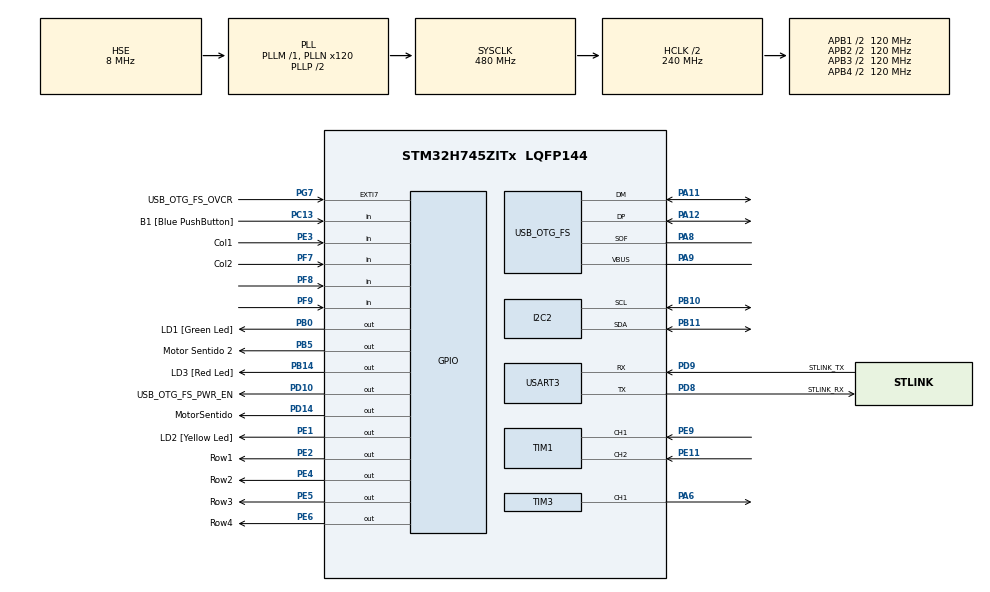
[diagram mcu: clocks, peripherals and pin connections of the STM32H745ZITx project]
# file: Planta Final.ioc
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CortexM4.IPs=FATFS_M4\:I,FREERTOS_M4\:I,IWDG2\:I,RCC,WWDG2\:I,DMA,BDMA,MDMA,NVIC2\:I,USART3,DEBUG,USB_DEVICE_M4\:I,USB_HOST_M4\:I,PDM2PCM_M4\:I,PWR,RESMGR_UTILITY,SYS_M4\:I,CORTEX_M4\:I,OPENAMP_M4\:I,VREFBUF
CortexM7.IPs=FATFS_M7\:I,FREERTOS_M7\:I,IWDG1\:I,RCC\:I,WWDG1\:I,DMA\:I,BDMA\:I,MDMA\:I,NVIC1\:I,SYS\:I,USART3\:I,USB_OTG_FS\:I,CORTEX_M7\:I,DEBUG\:I,USB_DEVICE_M7\:I,USB_HOST_M7\:I,PDM2PCM_M7\:I,PWR\:I,RESMGR_UTILITY\:I,OPENAMP_M7\:I,VREFBUF\:I,TIM1\:I,I2C2\:I,TIM3\:I
CortexM7.Pins=PE2,PE3,PE4,PE5,PE6,PF7,PF8,PF9,PD14,PB5
I2C2.Timing=0x307075B1
Mcu.Family=STM32H7
Mcu.Name=STM32H745ZITx
Mcu.Package=LQFP144
NVIC1.PriorityGroup=NVIC_PRIORITYGROUP_4
NVIC2.PriorityGroup=NVIC_PRIORITYGROUP_4
PA11.Mode=Device_Only
PA11.PinAttribute=CortexM7
PA11.Signal=USB_OTG_FS_DM
PA12.Mode=Device_Only
PA12.PinAttribute=CortexM7
PA12.Signal=USB_OTG_FS_DP
PA6.PinAttribute=CortexM7
PA6.Signal=S_TIM3_CH1
PA8.Mode=Activate_SOF_FS
PA8.PinAttribute=CortexM7
PA8.Signal=USB_OTG_FS_SOF
PA9.Mode=Activate_VBUS
PA9.PinAttribute=CortexM7
PA9.Signal=USB_OTG_FS_VBUS
PB0.GPIO_Label=LD1 [Green Led]
PB0.PinAttribute=Free
PB0.Signal=GPIO_Output
PB10.Mode=I2C
PB10.PinAttribute=CortexM7
PB10.Signal=I2C2_SCL
PB11.Mode=I2C
PB11.PinAttribute=CortexM7
PB11.Signal=I2C2_SDA
PB14.GPIO_Label=LD3 [Red Led]
PB14.PinAttribute=Free
PB14.Signal=GPIO_Output
PB5.GPIO_Label=Motor Sentido 2
PB5.PinAttribute=CortexM7
PB5.Signal=GPIO_Output
PC13.GPIO_Label=B1 [Blue PushButton]
PC13.PinAttribute=Free
PC13.Signal=GPIO_Input
PC14-OSC32_IN\ (OSC32_IN).Mode=LSE-External-Oscillator
PC14-OSC32_IN\ (OSC32_IN).PinAttribute=CortexM7
PC14-OSC32_IN\ (OSC32_IN).Signal=RCC_OSC32_IN
PC15-OSC32_OUT\ (OSC32_OUT).Mode=LSE-External-Oscillator
PC15-OSC32_OUT\ (OSC32_OUT).PinAttribute=CortexM7
PC15-OSC32_OUT\ (OSC32_OUT).Signal=RCC_OSC32_OUT
PD10.GPIO_Label=USB_OTG_FS_PWR_EN
PD10.PinAttribute=Free
PD10.Signal=GPIO_Output
PD14.GPIO_Label=MotorSentido
PD14.PinAttribute=CortexM7
PD14.Signal=GPIO_Output
PD8.GPIO_Label=STLINK_RX
PD8.Mode=Asynchronous
PD8.PinAttribute=CortexM7
PD8.Signal=USART3_TX
PD9.GPIO_Label=STLINK_TX
PD9.Mode=Asynchronous
PD9.PinAttribute=CortexM7
PD9.Signal=USART3_RX
PE1.GPIO_Label=LD2 [Yellow Led]
PE1.PinAttribute=Free
PE1.Signal=GPIO_Output
PE11.PinAttribute=CortexM7
PE11.Signal=S_TIM1_CH2
PE2.GPIO_Label=Row1
PE2.PinAttribute=CortexM7
PE2.Signal=GPIO_Output
PE3.GPIO_Label=Col1
PE3.PinAttribute=CortexM7
PE3.Signal=GPIO_Input
PE4.GPIO_Label=Row2
PE4.PinAttribute=CortexM7
PE4.Signal=GPIO_Output
PE5.GPIO_Label=Row3
PE5.PinAttribute=CortexM7
PE5.Signal=GPIO_Output
PE6.GPIO_Label=Row4
PE6.PinAttribute=CortexM7
PE6.Signal=GPIO_Output
PE9.PinAttribute=CortexM7
PE9.Signal=S_TIM1_CH1
PF7.GPIO_Label=Col2
PF7.PinAttribute=CortexM7
PF7.Signal=GPIO_Input
PF8.PinAttribute=CortexM7
PF8.Signal=GPIO_Input
PF9.PinAttribute=CortexM7
PF9.Signal=GPIO_Input
PG7.GPIO_Label=USB_OTG_FS_OVCR
PG7.PinAttribute=Free
PG7.Signal=GPXTI7
PH0-OSC_IN\ (PH0).Mode=HSE-External-Clock-Source
PH0-OSC_IN\ (PH0).PinAttribute=CortexM7
PH0-OSC_IN\ (PH0).Signal=RCC_OSC_IN
PH1-OSC_OUT\ (PH1).PinAttribute=CortexM7
PH1-OSC_OUT\ (PH1).Signal=RCC_OSC_OUT
ProjectManager.HeapSize=M4-0x200,M7-0x200
ProjectManager.StackSize=M4-0x400,M7-0x400
ProjectManager.TargetToolchain=STM32CubeIDE
RCC.ADCFreq_Value=16125000
RCC.APB1Freq_Value=120000000
RCC.APB2Freq_Value=120000000
RCC.APB3Freq_Value=120000000
RCC.APB4Freq_Value=120000000
RCC.CortexFreq_Value=480000000
RCC.D1PPRE=RCC_APB3_DIV2
RCC.D2PPRE1=RCC_APB1_DIV2
RCC.D2PPRE2=RCC_APB2_DIV2
RCC.D3PPRE=RCC_APB4_DIV2
RCC.DIVM1=1
RCC.DIVM3=1
RCC.DIVN1=120
RCC.DIVN3=24
RCC.DIVQ3=4
RCC.HCLKFreq_Value=240000000
RCC.HPRE=RCC_HCLK_DIV2
RCC.HSE_VALUE=8000000
RCC.PLL2FRACN=0
RCC.PLL3FRACN=0
RCC.PLLFRACN=0
RCC.SYSCLKFreq_VALUE=480000000
RCC.SYSCLKSource=RCC_SYSCLKSOURCE_PLLCLK
RCC.SupplySource=PWR_DIRECT_SMPS_SUPPLY
RCC.USBCLockSelection=RCC_USBCLKSOURCE_PLL3
RCC.USBFreq_Value=48000000
SH.S_TIM1_CH1.0=TIM1_CH1,Encoder_Interface
SH.S_TIM1_CH2.0=TIM1_CH2,Encoder_Interface
SH.S_TIM3_CH1.0=TIM3_CH1,PWM Generation1 CH1
TIM1.EncoderMode=TIM_ENCODERMODE_TI12
TIM1.IC1Filter=5
TIM1.IC1Polarity=TIM_ICPOLARITY_FALLING
TIM1.IC2Filter=5
TIM1.IC2Polarity=TIM_ICPOLARITY_FALLING
TIM3.Channel-PWM\ Generation1\ CH1=TIM_CHANNEL_1
TIM3.Period=99
TIM3.Prescaler=239
USART3.VirtualMode-Asynchronous=VM_ASYNC
USB_OTG_FS.VirtualMode=Device_Only
VP_SYS_M4_VS_Systick.Mode=SysTick
VP_TIM3_VS_ClockSourceINT.Mode=Internal
board=NUCLEO-H745ZI-Q

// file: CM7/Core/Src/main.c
/* USER CODE BEGIN Header */
/**
  ******************************************************************************
  * @file           : main.c
  * @brief          : Main program body
  ******************************************************************************
  * @attention
  *
  * <h2><center>&copy; Copyright (c) 2021 STMicroelectronics.
  * All rights reserved.</center></h2>
  *
  * This software component is licensed by ST under BSD 3-Clause license,
  * the "License"; You may not use this file except in compliance with the
  * License. You may obtain a copy of the License at:
  *                        opensource.org/licenses/BSD-3-Clause
  *
  ******************************************************************************
  */
/* USER CODE END Header */
#include "main.h"

/* USER CODE BEGIN Includes */
#include <stdio.h>
#include <stdlib.h>
#include <string.h>
//#include "stdio.h"
#include "PuenteH.h"
#include "MPU6050.h"
#include "i2c-lcd.h"
#include "keypad.h"

// For a proportional control
#define DIRECTION1_PIN GPIO_PIN_14
#define DIRECTION1_PORT GPIOD

#define DIRECTION2_PIN GPIO_PIN_5
#define DIRECTION2_PORT GPIOB

#define K 1

/* USER CODE END Includes */

/* USER CODE BEGIN PD */

#ifndef HSEM_ID_0
#define HSEM_ID_0 (0U) /* HW semaphore 0*/
#endif
/* USER CODE END PD */

I2C_HandleTypeDef hi2c2;

TIM_HandleTypeDef htim1;
TIM_HandleTypeDef htim3;

UART_HandleTypeDef huart3;

PCD_HandleTypeDef hpcd_USB_OTG_FS;

/* USER CODE BEGIN PV */
	// Declare global structures
		DC_Motor_Controller* motor;
		MPU6050 gyro;
	// Control variables:
		int currentPrr = 0;
		int currentDistance = 0;

		/* First Index -> Input
		 * Second Index -> Sensor
		 * */
		int controlStuffPRR[2];
		float controlStuffDist[2];

	// Send info buffers:
	   char uart_buffer[50];
	   uint8_t uart_buff_len;
	// MPU readings:
	   float readings [3];
/* USER CODE END PV */

void SystemClock_Config(void);
static void MX_GPIO_Init(void);
static void MX_USART3_UART_Init(void);
static void MX_USB_OTG_FS_PCD_Init(void);
static void MX_TIM1_Init(void);
static void MX_I2C2_Init(void);
static void MX_TIM3_Init(void);

/* USER CODE BEGIN 0 */

// Control System

// Convert a distance un centimeters to pulses per revolution
int cmToPrr(int distance){
	float prr = distance * (2911.0/15);
	return (int)prr;
}

// Converts pulses per revolution into distance units
int prrToCm(int distance){
	float prr = distance * (15.0/2911);
	return (int)prr;
}

void switchDirection(int diff){
	if(diff > 0){
		// Go Right
		HAL_GPIO_WritePin(DIRECTION1_PORT, DIRECTION1_PIN, GPIO_PIN_SET);
		HAL_GPIO_WritePin(DIRECTION2_PORT, DIRECTION2_PIN, GPIO_PIN_RESET);

	}
	else if(diff < 0){
		// Go Left
		HAL_GPIO_WritePin(DIRECTION1_PORT, DIRECTION1_PIN, GPIO_PIN_RESET);
		HAL_GPIO_WritePin(DIRECTION2_PORT, DIRECTION2_PIN, GPIO_PIN_SET);
	}

}
void shutdownMotor(){
	TIM3->CCR1=0;
	HAL_GPIO_WritePin(DIRECTION1_PORT, DIRECTION1_PIN, GPIO_PIN_RESET);
	HAL_GPIO_WritePin(DIRECTION2_PORT, DIRECTION2_PIN, GPIO_PIN_RESET);
}

void adjustPosition(int diff){
	int newPrr;
		int placeHolder = 0;
		switchDirection(diff); // Decide Moto Spin Direction
		TIM3->CCR1=90; // set PWM Signal

		// Reset Timer above threshold to avoid cycle counting bug

		// Count the cycles necesary to reach the desired position
		int t1,t2,sum= 0;
		newPrr = cmToPrr(abs(diff));

		if(diff >0){
			while(sum < newPrr){
				if(TIM1->CNT >= 15000){
				  TIM1->CNT = 0;
				}

				t1 = TIM1->CNT;
				//uart_buf_len = sprintf(uart_buf, "%d t1 %d sum\r\n", t1,sum);
				//HAL_UART_Transmit(&huart3, (uint8_t *)uart_buf, uart_buf_len, 100);
				HAL_Delay(0.1);
				t2 = TIM1->CNT;
				sum += (t2-t1);
			}
		}
		else{
			while(sum < newPrr){
				if(TIM1->CNT >= 15000){
				  TIM1->CNT = 0;
				}

				t1 = TIM1->CNT;
				//uart_buf_len = sprintf(uart_buf, "%d t1 %d sum\r\n", t1,sum);
				//HAL_UART_Transmit(&huart3, (uint8_t *)uart_buf, uart_buf_len, 100);
				HAL_Delay(0.1);
				t2 = TIM1->CNT;
				sum += (t1-t2);
			}

		}

		shutdownMotor();

		// Update sensor position lecture
		if(diff > 0){
			controlStuffPRR[1] += sum;
		}
		else if(diff < 0){
			controlStuffPRR[1] -= sum;

		}

	uart_buff_len = sprintf(uart_buffer, "p1 %d p2 %d sum %d newPPR %d \n", controlStuffPRR[0],controlStuffPRR[1],sum,newPrr);
	HAL_UART_Transmit(&huart3, (uint8_t *)uart_buffer, uart_buff_len, 100);

}

void adjustControl(){
	int Kp = 1;
	int error = controlStuffPRR[0] - controlStuffPRR[1];
	int controller = (int)error*Kp;

	if(error > 0){
		controlStuffPRR[0] -= controller;
	}

	else if(error < 0){
		controlStuffPRR[0] += controller;
	}

}

/* Keypad - LCD Related functions (GUI)
 *
 * */

void writeNumSelect(){
  lcd_reset();
  lcd_send_string("Select a Number:");
  HAL_Delay(500);
}

void writeSelected(char key){
  char b[20];
  //lcd_reset();
  lcd_put_cur(1,0);
  sprintf(b, "Selected %c", key);
  lcd_send_string(b);
  HAL_Delay(500);
}

void append(char* s, char c) {
  int len = strlen(s);
  s[len] = c;
  s[len+1] = '\0';
}

int getKeypadNum(){
	// Define a string of 5 chars
	char chrs[5] = "";
	char key;
	int num;

	do{
		writeNumSelect();
		key = keypad_read();
		if(key != '/'&& key != 'A' && key != '#' && key  != 'D' && key != 'C' && key != 'B' && key != '*'){
			append(chrs, key);
			writeSelected(key);
		}else if(key == 'B' || key == 'C' || key == 'D' || key == '*' || key == '#'){
			lcd_reset();
			lcd_send_string("Not valid!!");
			HAL_Delay(500);
		}
		HAL_Delay(500);
	} while(key != 'A'); //Stop selection once A is pressed.
	return atoi(chrs);
}

// Request a distance from 0 to 16 cm
int getDistanceTarget(){
	// Set 5 char string
	char chrs[25] = "";
	int dist = 0;

	do{

		lcd_reset();
		lcd_put_cur(0,0);
		lcd_send_string("Enter target:");

		lcd_put_cur(1,0);
		sprintf(chrs, "Current: %d cm", currentDistance);
		lcd_send_string(chrs);

		HAL_Delay(1000);

		dist = getKeypadNum();

		lcd_reset();
	} while(dist > 0);

	lcd_reset();
	lcd_send_string("out");
	HAL_Delay(1000);
	//&& (dist >= 0 && dist <= 16)
	return dist;
}

/* USER CODE END 0 */

int main(void)
{
/* USER CODE BEGIN Boot_Mode_Sequence_0 */
  int32_t timeout;
/* USER CODE END Boot_Mode_Sequence_0 */

/* USER CODE BEGIN Boot_Mode_Sequence_1 */
  /* Wait until CPU2 boots and enters in stop mode or timeout*/
  timeout = 0xFFFF;
  while((__HAL_RCC_GET_FLAG(RCC_FLAG_D2CKRDY) != RESET) && (timeout-- > 0));
  if ( timeout < 0 )
  {
  Error_Handler();
  }
/* USER CODE END Boot_Mode_Sequence_1 */
  /* MCU Configuration--------------------------------------------------------*/

  /* Reset of all peripherals, Initializes the Flash interface and the Systick. */
  HAL_Init();

  /* Configure the system clock */
  SystemClock_Config();
/* USER CODE BEGIN Boot_Mode_Sequence_2 */
/* When system initialization is finished, Cortex-M7 will release Cortex-M4 by means of
HSEM notification */
/*HW semaphore Clock enable*/
__HAL_RCC_HSEM_CLK_ENABLE();
/*Take HSEM */
HAL_HSEM_FastTake(HSEM_ID_0);
/*Release HSEM in order to notify the CPU2(CM4)*/
HAL_HSEM_Release(HSEM_ID_0,0);
/* wait until CPU2 wakes up from stop mode */
timeout = 0xFFFF;
while((__HAL_RCC_GET_FLAG(RCC_FLAG_D2CKRDY) == RESET) && (timeout-- > 0));
if ( timeout < 0 )
{
Error_Handler();
}
/* USER CODE END Boot_Mode_Sequence_2 */

  /* Initialize all configured peripherals */
  MX_GPIO_Init();
  MX_USART3_UART_Init();
  MX_USB_OTG_FS_PCD_Init();
  MX_TIM1_Init();
  MX_I2C2_Init();
  MX_TIM3_Init();
  /* USER CODE BEGIN 2 */

   // Kinda initialize MPU
   gyro.direction = 0xD0;	// Default: 0xD0
   gyro.who_am_I = 0x75;   // Default: 0x75
   gyro.timeout = 1000;    // Default: 1000
   MPU6050_init(&hi2c2, &gyro);

   //Initialize PWM:
   motor->pin_Forward_Group = GPIOD;
   motor->pin_Forward_num = GPIO_PIN_14;
   motor->pin_Reverse_Group = GPIOB;
   motor->pin_Reverse_num = GPIO_PIN_5;
   motor->timer_h = &htim3;
   motor->voltage_Supplied = 8.0;
   DC_Motor_Controller_Init(motor);

   //Initialize Encoder:
   HAL_TIM_Encoder_Start(&htim1, TIM_CHANNEL_ALL);

   // Initialize LCD & keypad
   lcd_init ();
   keypad_init();
  /* USER CODE END 2 */

  /* Infinite loop */
  /* USER CODE BEGIN WHILE */
   controlStuffPRR[0] = 0;
   controlStuffPRR[1] = 0;

   int i = 0;

  while (1)
  {
    /* USER CODE END WHILE */

    /* USER CODE BEGIN 3 */
	  /*
	  set_Relative_Velocity(motor, 0.5f);

	  //Change the 	way the motor turns.
	  invert_Motor(motor);
	  i = TIM1->CNT;
	  uart_buff_len = sprintf(uart_buffer, "%d clks\r\n", i);
	  HAL_UART_Transmit(&huart3, (uint8_t *)uart_buffer, uart_buff_len, 100);
	  HAL_Delay(1000);
	 */
	  /*
	  lcd_clear();  // clean display
	  lcd_put_cur(0,0);
	  lcd_send_string("Taking samples");
	   */

	  MPU6050_get_acc(&hi2c2, &gyro, readings);
	  uart_buff_len = sprintf(uart_buffer, "%.5f gyro \r\n", readings[0]);
	  HAL_UART_Transmit(&huart3, (uint8_t *)uart_buffer, uart_buff_len, 100);

	  //i = getDistanceTarget();
	  //--------------

	  int newDistance = getKeypadNum();
	  lcd_reset();
	  sprintf(uart_buffer,"Ref: %d", newDistance);
	  lcd_send_string(uart_buffer);

	  int diff = newDistance-currentDistance; // Funciona

	  controlStuffPRR[0] = cmToPrr(newDistance);
	  adjustPosition(diff);

	  currentDistance = prrToCm(controlStuffPRR[1]);

	  lcd_put_cur(1,0);
	  sprintf(uart_buffer,"sensor: %d",currentDistance);
	  lcd_send_string(uart_buffer);

	  i = TIM1->CNT;
	  uart_buff_len = sprintf(uart_buffer, "%d clks\r\n", i);
	  HAL_UART_Transmit(&huart3, (uint8_t *)uart_buffer, uart_buff_len, 100);

	  HAL_Delay(1000);

  }
  /* USER CODE END 3 */
}

void SystemClock_Config(void)
{
  RCC_OscInitTypeDef RCC_OscInitStruct = {0};
  RCC_ClkInitTypeDef RCC_ClkInitStruct = {0};

  /** Supply configuration update enable
  */
  HAL_PWREx_ConfigSupply(PWR_DIRECT_SMPS_SUPPLY);
  /** Configure the main internal regulator output voltage
  */
  __HAL_PWR_VOLTAGESCALING_CONFIG(PWR_REGULATOR_VOLTAGE_SCALE0);

  while(!__HAL_PWR_GET_FLAG(PWR_FLAG_VOSRDY)) {}
  /** Macro to configure the PLL clock source
  */
  __HAL_RCC_PLL_PLLSOURCE_CONFIG(RCC_PLLSOURCE_HSE);
  /** Initializes the RCC Oscillators according to the specified parameters
  * in the RCC_OscInitTypeDef structure.
  */
  RCC_OscInitStruct.OscillatorType = RCC_OSCILLATORTYPE_HSE;
  RCC_OscInitStruct.HSEState = RCC_HSE_BYPASS;
  RCC_OscInitStruct.PLL.PLLState = RCC_PLL_ON;
  RCC_OscInitStruct.PLL.PLLSource = RCC_PLLSOURCE_HSE;
  RCC_OscInitStruct.PLL.PLLM = 1;
  RCC_OscInitStruct.PLL.PLLN = 120;
  RCC_OscInitStruct.PLL.PLLP = 2;
  RCC_OscInitStruct.PLL.PLLQ = 2;
  RCC_OscInitStruct.PLL.PLLR = 2;
  RCC_OscInitStruct.PLL.PLLRGE = RCC_PLL1VCIRANGE_3;
  RCC_OscInitStruct.PLL.PLLVCOSEL = RCC_PLL1VCOWIDE;
  RCC_OscInitStruct.PLL.PLLFRACN = 0;
  if (HAL_RCC_OscConfig(&RCC_OscInitStruct) != HAL_OK)
  {
    Error_Handler();
  }
  /** Initializes the CPU, AHB and APB buses clocks
  */
  RCC_ClkInitStruct.ClockType = RCC_CLOCKTYPE_HCLK|RCC_CLOCKTYPE_SYSCLK
                              |RCC_CLOCKTYPE_PCLK1|RCC_CLOCKTYPE_PCLK2
                              |RCC_CLOCKTYPE_D3PCLK1|RCC_CLOCKTYPE_D1PCLK1;
  RCC_ClkInitStruct.SYSCLKSource = RCC_SYSCLKSOURCE_PLLCLK;
  RCC_ClkInitStruct.SYSCLKDivider = RCC_SYSCLK_DIV1;
  RCC_ClkInitStruct.AHBCLKDivider = RCC_HCLK_DIV2;
  RCC_ClkInitStruct.APB3CLKDivider = RCC_APB3_DIV2;
  RCC_ClkInitStruct.APB1CLKDivider = RCC_APB1_DIV2;
  RCC_ClkInitStruct.APB2CLKDivider = RCC_APB2_DIV2;
  RCC_ClkInitStruct.APB4CLKDivider = RCC_APB4_DIV2;

  if (HAL_RCC_ClockConfig(&RCC_ClkInitStruct, FLASH_LATENCY_4) != HAL_OK)
  {
    Error_Handler();
  }
}

static void MX_I2C2_Init(void)
{

  hi2c2.Instance = I2C2;
  hi2c2.Init.Timing = 0x307075B1;
  hi2c2.Init.OwnAddress1 = 0;
  hi2c2.Init.AddressingMode = I2C_ADDRESSINGMODE_7BIT;
  hi2c2.Init.DualAddressMode = I2C_DUALADDRESS_DISABLE;
  hi2c2.Init.OwnAddress2 = 0;
  hi2c2.Init.OwnAddress2Masks = I2C_OA2_NOMASK;
  hi2c2.Init.GeneralCallMode = I2C_GENERALCALL_DISABLE;
  hi2c2.Init.NoStretchMode = I2C_NOSTRETCH_DISABLE;
  if (HAL_I2C_Init(&hi2c2) != HAL_OK)
  {
    Error_Handler();
  }
  /** Configure Analogue filter
  */
  if (HAL_I2CEx_ConfigAnalogFilter(&hi2c2, I2C_ANALOGFILTER_ENABLE) != HAL_OK)
  {
    Error_Handler();
  }
  /** Configure Digital filter
  */
  if (HAL_I2CEx_ConfigDigitalFilter(&hi2c2, 0) != HAL_OK)
  {
    Error_Handler();
  }

}

static void MX_TIM1_Init(void)
{

  TIM_Encoder_InitTypeDef sConfig = {0};
  TIM_MasterConfigTypeDef sMasterConfig = {0};

  htim1.Instance = TIM1;
  htim1.Init.Prescaler = 0;
  htim1.Init.CounterMode = TIM_COUNTERMODE_UP;
  htim1.Init.Period = 65535;
  htim1.Init.ClockDivision = TIM_CLOCKDIVISION_DIV1;
  htim1.Init.RepetitionCounter = 0;
  htim1.Init.AutoReloadPreload = TIM_AUTORELOAD_PRELOAD_DISABLE;
  sConfig.EncoderMode = TIM_ENCODERMODE_TI12;
  sConfig.IC1Polarity = TIM_ICPOLARITY_FALLING;
  sConfig.IC1Selection = TIM_ICSELECTION_DIRECTTI;
  sConfig.IC1Prescaler = TIM_ICPSC_DIV1;
  sConfig.IC1Filter = 5;
  sConfig.IC2Polarity = TIM_ICPOLARITY_FALLING;
  sConfig.IC2Selection = TIM_ICSELECTION_DIRECTTI;
  sConfig.IC2Prescaler = TIM_ICPSC_DIV1;
  sConfig.IC2Filter = 5;
  if (HAL_TIM_Encoder_Init(&htim1, &sConfig) != HAL_OK)
  {
    Error_Handler();
  }
  sMasterConfig.MasterOutputTrigger = TIM_TRGO_RESET;
  sMasterConfig.MasterOutputTrigger2 = TIM_TRGO2_RESET;
  sMasterConfig.MasterSlaveMode = TIM_MASTERSLAVEMODE_DISABLE;
  if (HAL_TIMEx_MasterConfigSynchronization(&htim1, &sMasterConfig) != HAL_OK)
  {
    Error_Handler();
  }

}

static void MX_TIM3_Init(void)
{

  TIM_ClockConfigTypeDef sClockSourceConfig = {0};
  TIM_MasterConfigTypeDef sMasterConfig = {0};
  TIM_OC_InitTypeDef sConfigOC = {0};

  htim3.Instance = TIM3;
  htim3.Init.Prescaler = 239;
  htim3.Init.CounterMode = TIM_COUNTERMODE_UP;
  htim3.Init.Period = 99;
  htim3.Init.ClockDivision = TIM_CLOCKDIVISION_DIV1;
  htim3.Init.AutoReloadPreload = TIM_AUTORELOAD_PRELOAD_DISABLE;
  if (HAL_TIM_Base_Init(&htim3) != HAL_OK)
  {
    Error_Handler();
  }
  sClockSourceConfig.ClockSource = TIM_CLOCKSOURCE_INTERNAL;
  if (HAL_TIM_ConfigClockSource(&htim3, &sClockSourceConfig) != HAL_OK)
  {
    Error_Handler();
  }
  if (HAL_TIM_PWM_Init(&htim3) != HAL_OK)
  {
    Error_Handler();
  }
  sMasterConfig.MasterOutputTrigger = TIM_TRGO_RESET;
  sMasterConfig.MasterSlaveMode = TIM_MASTERSLAVEMODE_DISABLE;
  if (HAL_TIMEx_MasterConfigSynchronization(&htim3, &sMasterConfig) != HAL_OK)
  {
    Error_Handler();
  }
  sConfigOC.OCMode = TIM_OCMODE_PWM1;
  sConfigOC.Pulse = 0;
  sConfigOC.OCPolarity = TIM_OCPOLARITY_HIGH;
  sConfigOC.OCFastMode = TIM_OCFAST_DISABLE;
  if (HAL_TIM_PWM_ConfigChannel(&htim3, &sConfigOC, TIM_CHANNEL_1) != HAL_OK)
  {
    Error_Handler();
  }
  HAL_TIM_MspPostInit(&htim3);

}

static void MX_USART3_UART_Init(void)
{

  huart3.Instance = USART3;
  huart3.Init.BaudRate = 115200;
  huart3.Init.WordLength = UART_WORDLENGTH_8B;
  huart3.Init.StopBits = UART_STOPBITS_1;
  huart3.Init.Parity = UART_PARITY_NONE;
  huart3.Init.Mode = UART_MODE_TX_RX;
  huart3.Init.HwFlowCtl = UART_HWCONTROL_NONE;
  huart3.Init.OverSampling = UART_OVERSAMPLING_16;
  huart3.Init.OneBitSampling = UART_ONE_BIT_SAMPLE_DISABLE;
  huart3.Init.ClockPrescaler = UART_PRESCALER_DIV1;
  huart3.AdvancedInit.AdvFeatureInit = UART_ADVFEATURE_NO_INIT;
  if (HAL_UART_Init(&huart3) != HAL_OK)
  {
    Error_Handler();
  }
  if (HAL_UARTEx_SetTxFifoThreshold(&huart3, UART_TXFIFO_THRESHOLD_1_8) != HAL_OK)
  {
    Error_Handler();
  }
  if (HAL_UARTEx_SetRxFifoThreshold(&huart3, UART_RXFIFO_THRESHOLD_1_8) != HAL_OK)
  {
    Error_Handler();
  }
  if (HAL_UARTEx_DisableFifoMode(&huart3) != HAL_OK)
  {
    Error_Handler();
  }

}

static void MX_USB_OTG_FS_PCD_Init(void)
{

  hpcd_USB_OTG_FS.Instance = USB_OTG_FS;
  hpcd_USB_OTG_FS.Init.dev_endpoints = 9;
  hpcd_USB_OTG_FS.Init.speed = PCD_SPEED_FULL;
  hpcd_USB_OTG_FS.Init.dma_enable = DISABLE;
  hpcd_USB_OTG_FS.Init.phy_itface = PCD_PHY_EMBEDDED;
  hpcd_USB_OTG_FS.Init.Sof_enable = DISABLE;
  hpcd_USB_OTG_FS.Init.low_power_enable = DISABLE;
  hpcd_USB_OTG_FS.Init.lpm_enable = DISABLE;
  hpcd_USB_OTG_FS.Init.battery_charging_enable = ENABLE;
  hpcd_USB_OTG_FS.Init.vbus_sensing_enable = ENABLE;
  hpcd_USB_OTG_FS.Init.use_dedicated_ep1 = DISABLE;
  if (HAL_PCD_Init(&hpcd_USB_OTG_FS) != HAL_OK)
  {
    Error_Handler();
  }

}

static void MX_GPIO_Init(void)
{
  GPIO_InitTypeDef GPIO_InitStruct = {0};

  /* GPIO Ports Clock Enable */
  __HAL_RCC_GPIOE_CLK_ENABLE();
  __HAL_RCC_GPIOC_CLK_ENABLE();
  __HAL_RCC_GPIOF_CLK_ENABLE();
  __HAL_RCC_GPIOH_CLK_ENABLE();
  __HAL_RCC_GPIOA_CLK_ENABLE();
  __HAL_RCC_GPIOB_CLK_ENABLE();
  __HAL_RCC_GPIOD_CLK_ENABLE();

  /*Configure GPIO pin Output Level */
  HAL_GPIO_WritePin(GPIOE, Row1_Pin|Row2_Pin|Row3_Pin|Row4_Pin, GPIO_PIN_RESET);

  /*Configure GPIO pin Output Level */
  HAL_GPIO_WritePin(MotorSentido_GPIO_Port, MotorSentido_Pin, GPIO_PIN_RESET);

  /*Configure GPIO pin Output Level */
  HAL_GPIO_WritePin(Motor_Sentido_2_GPIO_Port, Motor_Sentido_2_Pin, GPIO_PIN_RESET);

  /*Configure GPIO pins : Row1_Pin Row2_Pin Row3_Pin Row4_Pin */
  GPIO_InitStruct.Pin = Row1_Pin|Row2_Pin|Row3_Pin|Row4_Pin;
  GPIO_InitStruct.Mode = GPIO_MODE_OUTPUT_PP;
  GPIO_InitStruct.Pull = GPIO_NOPULL;
  GPIO_InitStruct.Speed = GPIO_SPEED_FREQ_LOW;
  HAL_GPIO_Init(GPIOE, &GPIO_InitStruct);

  /*Configure GPIO pin : Col1_Pin */
  GPIO_InitStruct.Pin = Col1_Pin;
  GPIO_InitStruct.Mode = GPIO_MODE_INPUT;
  GPIO_InitStruct.Pull = GPIO_NOPULL;
  HAL_GPIO_Init(Col1_GPIO_Port, &GPIO_InitStruct);

  /*Configure GPIO pins : Col2_Pin PF8 PF9 */
  GPIO_InitStruct.Pin = Col2_Pin|GPIO_PIN_8|GPIO_PIN_9;
  GPIO_InitStruct.Mode = GPIO_MODE_INPUT;
  GPIO_InitStruct.Pull = GPIO_NOPULL;
  HAL_GPIO_Init(GPIOF, &GPIO_InitStruct);

  /*Configure GPIO pin : MotorSentido_Pin */
  GPIO_InitStruct.Pin = MotorSentido_Pin;
  GPIO_InitStruct.Mode = GPIO_MODE_OUTPUT_PP;
  GPIO_InitStruct.Pull = GPIO_NOPULL;
  GPIO_InitStruct.Speed = GPIO_SPEED_FREQ_LOW;
  HAL_GPIO_Init(MotorSentido_GPIO_Port, &GPIO_InitStruct);

  /*Configure GPIO pin : Motor_Sentido_2_Pin */
  GPIO_InitStruct.Pin = Motor_Sentido_2_Pin;
  GPIO_InitStruct.Mode = GPIO_MODE_OUTPUT_PP;
  GPIO_InitStruct.Pull = GPIO_NOPULL;
  GPIO_InitStruct.Speed = GPIO_SPEED_FREQ_LOW;
  HAL_GPIO_Init(Motor_Sentido_2_GPIO_Port, &GPIO_InitStruct);

}

void Error_Handler(void)
{
  __disable_irq();
  while (1)
  {
  }
}

/************************ (C) COPYRIGHT STMicroelectronics *****END OF FILE****/
